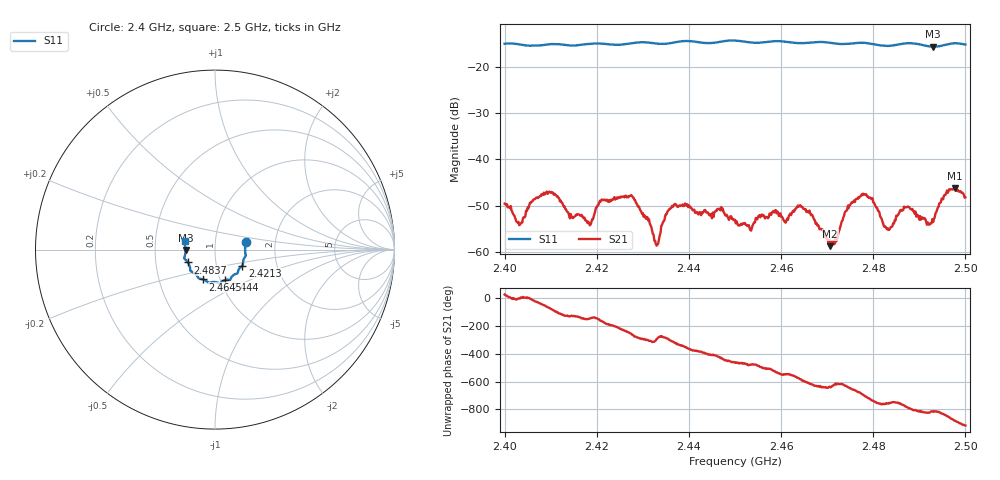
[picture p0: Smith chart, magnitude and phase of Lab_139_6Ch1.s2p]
# Hz S RI R 50
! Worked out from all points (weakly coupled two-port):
!   601 points, 2.4 GHz to 2.5 GHz, reference 50 ohm
!   highest |S21| = -46.22 dB at 2.4977 GHz (marker M1); lowest = -58.7 dB at 2.4707 GHz (marker M2)
!   lowest |S11| = -15.7 dB at 2.493 GHz (marker M3), VSWR 1.39, Z = 35.9 - j0.217 ohm
!   |S11| at or under -10 dB: start of sweep to end of sweep
!   S12 and S22 are empty: the file has one direction only
!   S11 on the Smith chart (normalised r, x): 2.4 GHz: 1.41, +0.12; 2.4213 GHz: 1.33, -0.25; 2.444 GHz: 1.06, -0.37; 2.4645 GHz: 0.83, -0.29; 2.4837 GHz: 0.73, -0.11; 2.5 GHz: 0.71, +0.07
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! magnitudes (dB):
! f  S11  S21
! 2.4 GHz  -15.1  -49.5
! 2.4033 GHz  -15.3  -54.1
! 2.41 GHz  -15.2  -47.2
! 2.4167 GHz  -15.3  -52.0
! 2.4187 GHz  -15.1  -54.0
! 2.4213 GHz  -15.1  -48.8
! 2.4277 GHz  -15.0  -47.9
! 2.4333 GHz  -15.1  -58.1
! 2.4367 GHz  -14.8  -49.9
! 2.444 GHz  -15.0  -51.5
! 2.45 GHz  -14.4  -53.0
! 2.461 GHz  -14.7  -53.6
! 2.4645 GHz  -15.0  -50.2
! 2.4667 GHz  -14.8  -51.9
! 2.4707 GHz  -14.9  -58.7
! 2.478 GHz  -14.9  -47.6
! 2.4833 GHz  -15.6  -55.2
! 2.4837 GHz  -15.5  -54.8
! 2.4872 GHz  -15.0  -50.3
! 2.493 GHz  -15.7  -53.5
! 2.4977 GHz  -15.0  -46.2
! 2.5 GHz  -15.3  -48.2
